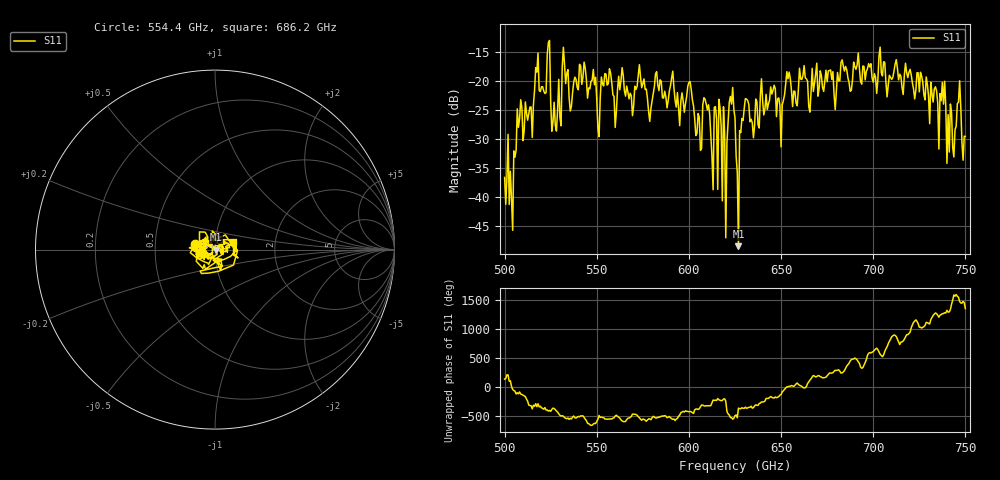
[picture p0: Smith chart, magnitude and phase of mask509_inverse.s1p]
!Created with skrf (http://scikit-rf.org).
# GHz S MA R 50.0
!freq magS11 angS11
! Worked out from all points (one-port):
!   401 points, 500 GHz to 750 GHz, reference 50 ohm
!   lowest |S11| = -48.5 dB at 626.9 GHz (marker M1), VSWR 1.01, Z = 50.4 - j0.0587 ohm
!   |S11| at or under -10 dB: start of sweep to end of sweep
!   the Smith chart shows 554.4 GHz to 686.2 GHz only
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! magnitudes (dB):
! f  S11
! 500 GHz  -36.6
! 503.8 GHz  -40.4
! 508.1 GHz  -26.5
! 513.8 GHz  -24.5
! 517.5 GHz  -18.4
! 523.8 GHz  -13.3
! 526.9 GHz  -23.6
! 531.2 GHz  -17.6
! 541.9 GHz  -20.5
! 551.2 GHz  -29.6
! 562.5 GHz  -21.5
! 593.8 GHz  -22.0
! 600.6 GHz  -20.1
! 605.6 GHz  -26.3
! 609.4 GHz  -23.9
! 617.5 GHz  -27.8
! 619.4 GHz  -29.0
! 622.5 GHz  -22.6
! 625 GHz  -26.4
! 626.9 GHz  -48.5
! 631.2 GHz  -23.1
! 656.2 GHz  -24.4
! 687.5 GHz  -21.7
! 718.8 GHz  -19.4
! 737.5 GHz  -20.2
! 742.5 GHz  -25.5
! 746.2 GHz  -23.6
! 750 GHz  -29.5
